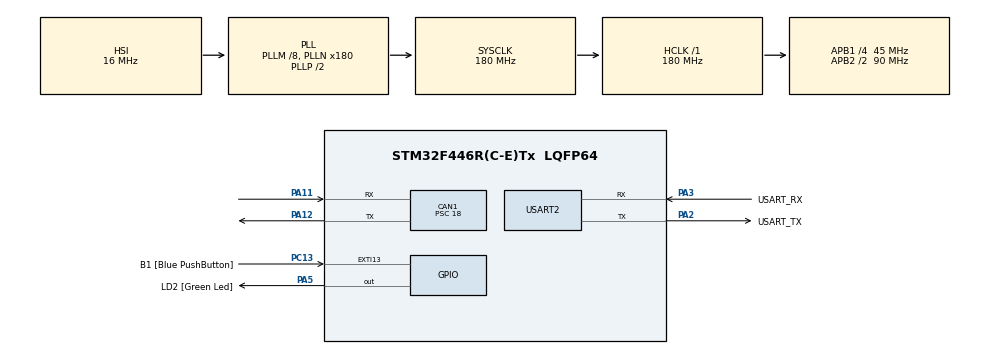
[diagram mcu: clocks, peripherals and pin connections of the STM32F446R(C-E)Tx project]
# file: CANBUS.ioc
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CAN1.BS1=CAN_BS1_2TQ
CAN1.BS2=CAN_BS2_2TQ
CAN1.CalculateBaudRate=500000
CAN1.CalculateTimeBit=2000
CAN1.CalculateTimeQuantum=400.0
CAN1.Prescaler=18
Mcu.Family=STM32F4
Mcu.Name=STM32F446R(C-E)Tx
Mcu.Package=LQFP64
NVIC.CAN1_RX0_IRQn=true\:0\:0\:false\:false\:true\:true\:true\:true
NVIC.EXTI15_10_IRQn=true\:0\:0\:false\:false\:true\:true\:true\:true
NVIC.PriorityGroup=NVIC_PRIORITYGROUP_0
PA11.Mode=CAN_Activate
PA11.Signal=CAN1_RX
PA12.Mode=CAN_Activate
PA12.Signal=CAN1_TX
PA13.GPIO_Label=TMS
PA13.Mode=Serial_Wire
PA13.Signal=SYS_JTMS-SWDIO
PA14.GPIO_Label=TCK
PA14.Mode=Serial_Wire
PA14.Signal=SYS_JTCK-SWCLK
PA2.GPIO_Label=USART_TX
PA2.Mode=Asynchronous
PA2.Signal=USART2_TX
PA3.GPIO_Label=USART_RX
PA3.Mode=Asynchronous
PA3.Signal=USART2_RX
PA5.GPIO_Label=LD2 [Green Led]
PA5.Signal=GPIO_Output
PB3.GPIO_Label=SWO
PB3.Signal=SYS_JTDO-SWO
PC13.GPIO_Label=B1 [Blue PushButton]
PC13.GPIO_ModeDefaultEXTI=GPIO_MODE_IT_FALLING
PC13.Signal=GPXTI13
PC14-OSC32_IN.Mode=LSE-External-Oscillator
PC14-OSC32_IN.Signal=RCC_OSC32_IN
PC15-OSC32_OUT.Mode=LSE-External-Oscillator
PC15-OSC32_OUT.Signal=RCC_OSC32_OUT
PH0-OSC_IN.Mode=HSE-External-Oscillator
PH0-OSC_IN.Signal=RCC_OSC_IN
PH1-OSC_OUT.Mode=HSE-External-Oscillator
PH1-OSC_OUT.Signal=RCC_OSC_OUT
ProjectManager.HeapSize=0x200
ProjectManager.StackSize=0x400
ProjectManager.TargetToolchain=STM32CubeIDE
RCC.48MHZClocksFreq_Value=84000000
RCC.AHBFreq_Value=180000000
RCC.APB1CLKDivider=RCC_HCLK_DIV4
RCC.APB1Freq_Value=45000000
RCC.APB1TimFreq_Value=90000000
RCC.APB2CLKDivider=RCC_HCLK_DIV2
RCC.APB2Freq_Value=90000000
RCC.APB2TimFreq_Value=180000000
RCC.CortexFreq_Value=180000000
RCC.FLatency-AdvancedSettings=FLASH_LATENCY_5
RCC.HCLKFreq_Value=180000000
RCC.HSE_VALUE=8000000
RCC.HSI_VALUE=16000000
RCC.PLLM=8
RCC.PLLN=180
RCC.SYSCLKFreq_VALUE=180000000
RCC.SYSCLKSource=RCC_SYSCLKSOURCE_PLLCLK
RCC.USBFreq_Value=180000000
RCC.VCOOutputFreq_Value=360000000
USART2.VirtualMode=VM_ASYNC
board=NUCLEO-F446RE

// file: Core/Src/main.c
/* USER CODE BEGIN Header */
/**
  ******************************************************************************
  * @file           : main.c
  * @brief          : Main program body
  ******************************************************************************
  * @attention
  *
  * Copyright (c) 2025 STMicroelectronics.
  * All rights reserved.
  *
  * This software is licensed under terms that can be found in the LICENSE file
  * in the root directory of this software component.
  * If no LICENSE file comes with this software, it is provided AS-IS.
  *
  ******************************************************************************
  */
/* USER CODE END Header */
#include "main.h"

CAN_HandleTypeDef hcan1;

UART_HandleTypeDef huart2;

void SystemClock_Config(void);
static void MX_GPIO_Init(void);
static void MX_USART2_UART_Init(void);
static void MX_CAN1_Init(void);

/* USER CODE BEGIN 0 */
CAN_TxHeaderTypeDef TxHeader;
CAN_RxHeaderTypeDef RxHeader;
int datacheck=0;
uint8_t TxData[8];
uint8_t RxData[8];

uint32_t TxMailbox;

void HAL_GPIO_EXTI_Callback(uint16_t GPIO_Pin)
{
	if(GPIO_Pin == GPIO_PIN_13)
	{
		TxData[0] = 100; //Delay ms
		TxData[1] = 10;  //loop rep

		HAL_CAN_AddTxMessage(&hcan1,&TxHeader,TxData,&TxMailbox);
	}
}

void HAL_CAN_RxFifo0MsgPendingCallback(CAN_HandleTypeDef *hcan)
{
	HAL_CAN_GetRxMessage(hcan, CAN_RX_FIFO0, &RxHeader, RxData);
	if ( RxHeader.DLC == 2 )
	{
		datacheck = 1 ;
	}
}
/* USER CODE END 0 */

int main(void)
{

  /* MCU Configuration--------------------------------------------------------*/

  /* Reset of all peripherals, Initializes the Flash interface and the Systick. */
  HAL_Init();

  /* Configure the system clock */
  SystemClock_Config();

  /* Initialize all configured peripherals */
  MX_GPIO_Init();
  MX_USART2_UART_Init();
  MX_CAN1_Init();
  /* USER CODE BEGIN 2 */

  HAL_CAN_Start(&hcan1);
  // activate CAN notif here
  HAL_CAN_ActivateNotification(&hcan1, CAN_IT_RX_FIFO0_MSG_PENDING);

  TxHeader.DLC = 2 ;//data length
  TxHeader.IDE = CAN_ID_STD;
  TxHeader.RTR = CAN_RTR_DATA;
  TxHeader.StdId = 0x446; // ID board

  /* USER CODE END 2 */

  /* Infinite loop */
  while (1)
  {

    /* USER CODE BEGIN 3 */
	  if(datacheck)
	  {
		  // blink LED
		  for (int i=0; i < RxData[1] ; i++)
		  {
			  HAL_GPIO_TogglePin(GPIOA, GPIO_PIN_5);
			  HAL_Delay(RxData[0]);
		  }
		  datacheck = 0 ;

	  }
  }
  /* USER CODE END 3 */
}

void SystemClock_Config(void)
{
  RCC_OscInitTypeDef RCC_OscInitStruct = {0};
  RCC_ClkInitTypeDef RCC_ClkInitStruct = {0};

  /** Configure the main internal regulator output voltage
  */
  __HAL_RCC_PWR_CLK_ENABLE();
  __HAL_PWR_VOLTAGESCALING_CONFIG(PWR_REGULATOR_VOLTAGE_SCALE1);

  /** Initializes the RCC Oscillators according to the specified parameters
  * in the RCC_OscInitTypeDef structure.
  */
  RCC_OscInitStruct.OscillatorType = RCC_OSCILLATORTYPE_HSI;
  RCC_OscInitStruct.HSIState = RCC_HSI_ON;
  RCC_OscInitStruct.HSICalibrationValue = RCC_HSICALIBRATION_DEFAULT;
  RCC_OscInitStruct.PLL.PLLState = RCC_PLL_ON;
  RCC_OscInitStruct.PLL.PLLSource = RCC_PLLSOURCE_HSI;
  RCC_OscInitStruct.PLL.PLLM = 8;
  RCC_OscInitStruct.PLL.PLLN = 180;
  RCC_OscInitStruct.PLL.PLLP = RCC_PLLP_DIV2;
  RCC_OscInitStruct.PLL.PLLQ = 2;
  RCC_OscInitStruct.PLL.PLLR = 2;
  if (HAL_RCC_OscConfig(&RCC_OscInitStruct) != HAL_OK)
  {
    Error_Handler();
  }

  /** Activate the Over-Drive mode
  */
  if (HAL_PWREx_EnableOverDrive() != HAL_OK)
  {
    Error_Handler();
  }

  /** Initializes the CPU, AHB and APB buses clocks
  */
  RCC_ClkInitStruct.ClockType = RCC_CLOCKTYPE_HCLK|RCC_CLOCKTYPE_SYSCLK
                              |RCC_CLOCKTYPE_PCLK1|RCC_CLOCKTYPE_PCLK2;
  RCC_ClkInitStruct.SYSCLKSource = RCC_SYSCLKSOURCE_PLLCLK;
  RCC_ClkInitStruct.AHBCLKDivider = RCC_SYSCLK_DIV1;
  RCC_ClkInitStruct.APB1CLKDivider = RCC_HCLK_DIV4;
  RCC_ClkInitStruct.APB2CLKDivider = RCC_HCLK_DIV2;

  if (HAL_RCC_ClockConfig(&RCC_ClkInitStruct, FLASH_LATENCY_5) != HAL_OK)
  {
    Error_Handler();
  }
}

static void MX_CAN1_Init(void)
{

  hcan1.Instance = CAN1;
  hcan1.Init.Prescaler = 18;
  hcan1.Init.Mode = CAN_MODE_NORMAL;
  hcan1.Init.SyncJumpWidth = CAN_SJW_1TQ;
  hcan1.Init.TimeSeg1 = CAN_BS1_2TQ;
  hcan1.Init.TimeSeg2 = CAN_BS2_2TQ;
  hcan1.Init.TimeTriggeredMode = DISABLE;
  hcan1.Init.AutoBusOff = DISABLE;
  hcan1.Init.AutoWakeUp = DISABLE;
  hcan1.Init.AutoRetransmission = DISABLE;
  hcan1.Init.ReceiveFifoLocked = DISABLE;
  hcan1.Init.TransmitFifoPriority = DISABLE;
  if (HAL_CAN_Init(&hcan1) != HAL_OK)
  {
    Error_Handler();
  }
  /* USER CODE BEGIN CAN1_Init 2 */
  CAN_FilterTypeDef canfilterconfig;

    canfilterconfig.FilterActivation = CAN_FILTER_ENABLE;
    canfilterconfig.FilterBank = 18;  // which filter bank to use from the assigned ones
    canfilterconfig.FilterFIFOAssignment = CAN_FILTER_FIFO0;
    canfilterconfig.FilterIdHigh = 0x446<<5;
    canfilterconfig.FilterIdLow = 0;
    canfilterconfig.FilterMaskIdHigh = 0x446<<5;
    canfilterconfig.FilterMaskIdLow = 0x0000;
    canfilterconfig.FilterMode = CAN_FILTERMODE_IDMASK;
    canfilterconfig.FilterScale = CAN_FILTERSCALE_32BIT;
    canfilterconfig.SlaveStartFilterBank = 20;  // how many filters to assign to the CAN1 (master can)

    HAL_CAN_ConfigFilter(&hcan1, &canfilterconfig);

  /* USER CODE END CAN1_Init 2 */

}

static void MX_USART2_UART_Init(void)
{

  huart2.Instance = USART2;
  huart2.Init.BaudRate = 115200;
  huart2.Init.WordLength = UART_WORDLENGTH_8B;
  huart2.Init.StopBits = UART_STOPBITS_1;
  huart2.Init.Parity = UART_PARITY_NONE;
  huart2.Init.Mode = UART_MODE_TX_RX;
  huart2.Init.HwFlowCtl = UART_HWCONTROL_NONE;
  huart2.Init.OverSampling = UART_OVERSAMPLING_16;
  if (HAL_UART_Init(&huart2) != HAL_OK)
  {
    Error_Handler();
  }

}

static void MX_GPIO_Init(void)
{
  GPIO_InitTypeDef GPIO_InitStruct = {0};

  /* GPIO Ports Clock Enable */
  __HAL_RCC_GPIOC_CLK_ENABLE();
  __HAL_RCC_GPIOH_CLK_ENABLE();
  __HAL_RCC_GPIOA_CLK_ENABLE();
  __HAL_RCC_GPIOB_CLK_ENABLE();

  /*Configure GPIO pin Output Level */
  HAL_GPIO_WritePin(LD2_GPIO_Port, LD2_Pin, GPIO_PIN_RESET);

  /*Configure GPIO pin : B1_Pin */
  GPIO_InitStruct.Pin = B1_Pin;
  GPIO_InitStruct.Mode = GPIO_MODE_IT_FALLING;
  GPIO_InitStruct.Pull = GPIO_NOPULL;
  HAL_GPIO_Init(B1_GPIO_Port, &GPIO_InitStruct);

  /*Configure GPIO pin : LD2_Pin */
  GPIO_InitStruct.Pin = LD2_Pin;
  GPIO_InitStruct.Mode = GPIO_MODE_OUTPUT_PP;
  GPIO_InitStruct.Pull = GPIO_NOPULL;
  GPIO_InitStruct.Speed = GPIO_SPEED_FREQ_LOW;
  HAL_GPIO_Init(LD2_GPIO_Port, &GPIO_InitStruct);

  /* EXTI interrupt init*/
  HAL_NVIC_SetPriority(EXTI15_10_IRQn, 0, 0);
  HAL_NVIC_EnableIRQ(EXTI15_10_IRQn);

}

void Error_Handler(void)
{
  __disable_irq();
  while (1)
  {
  }
}
